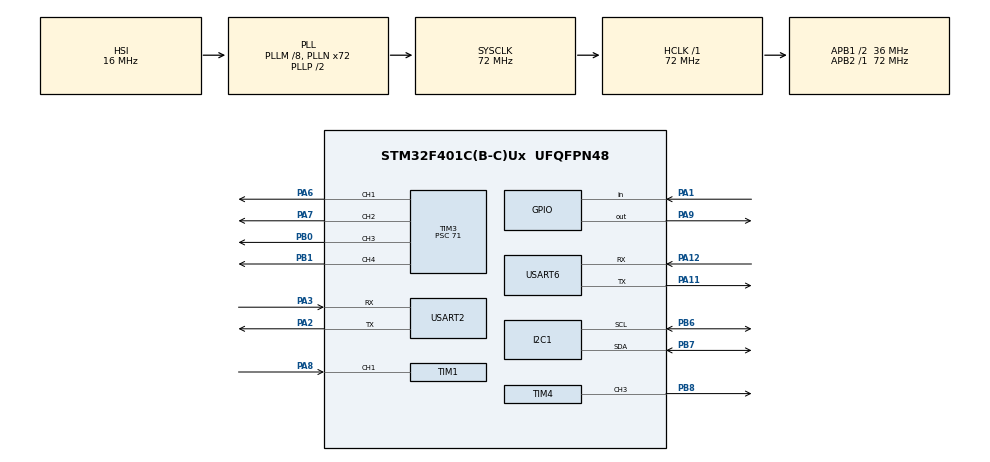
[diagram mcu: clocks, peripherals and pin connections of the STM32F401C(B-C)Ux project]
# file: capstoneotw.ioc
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I2C1.I2C_Mode=I2C_Fast
Mcu.Family=STM32F4
Mcu.Name=STM32F401C(B-C)Ux
Mcu.Package=UFQFPN48
NVIC.PriorityGroup=NVIC_PRIORITYGROUP_4
NVIC.RTC_Alarm_IRQn=true\:0\:0\:false\:false\:true\:true\:true\:true
NVIC.TIM1_CC_IRQn=true\:0\:0\:false\:false\:true\:true\:true\:true
PA1.Signal=GPIO_Input
PA11.Mode=Asynchronous
PA11.Signal=USART6_TX
PA12.Mode=Asynchronous
PA12.Signal=USART6_RX
PA13.Mode=Serial_Wire
PA13.Signal=SYS_JTMS-SWDIO
PA14.Mode=Serial_Wire
PA14.Signal=SYS_JTCK-SWCLK
PA2.Mode=Asynchronous
PA2.Signal=USART2_TX
PA3.Mode=Asynchronous
PA3.Signal=USART2_RX
PA6.Signal=S_TIM3_CH1
PA7.Signal=S_TIM3_CH2
PA8.Signal=S_TIM1_CH1
PA9.Signal=GPIO_Output
PB0.Signal=S_TIM3_CH3
PB1.Signal=S_TIM3_CH4
PB6.Mode=I2C
PB6.Signal=I2C1_SCL
PB7.Mode=I2C
PB7.Signal=I2C1_SDA
PB8.Signal=S_TIM4_CH3
PH0\ -\ OSC_IN.Mode=HSE-External-Oscillator
PH0\ -\ OSC_IN.Signal=RCC_OSC_IN
PH1\ -\ OSC_OUT.Mode=HSE-External-Oscillator
PH1\ -\ OSC_OUT.Signal=RCC_OSC_OUT
ProjectManager.HeapSize=0x200
ProjectManager.StackSize=0x400
ProjectManager.TargetToolchain=STM32CubeIDE
RCC.48MHZClocksFreq_Value=36000000
RCC.AHBFreq_Value=72000000
RCC.APB1CLKDivider=RCC_HCLK_DIV2
RCC.APB1Freq_Value=36000000
RCC.APB1TimFreq_Value=72000000
RCC.APB2Freq_Value=72000000
RCC.APB2TimFreq_Value=72000000
RCC.CortexFreq_Value=72000000
RCC.HCLKFreq_Value=72000000
RCC.HSE_VALUE=25000000
RCC.HSI_VALUE=16000000
RCC.LSE_VALUE=32768
RCC.PLLM=8
RCC.PLLN=72
RCC.SYSCLKFreq_VALUE=72000000
RCC.SYSCLKSource=RCC_SYSCLKSOURCE_PLLCLK
RCC.VCOOutputFreq_Value=144000000
RTC.Alarm=RTC_ALARM_A
RTC.Format=RTC_FORMAT_BIN
SH.S_TIM1_CH1.0=TIM1_CH1,Input_Capture1_from_TI1
SH.S_TIM3_CH1.0=TIM3_CH1,PWM Generation1 CH1
SH.S_TIM3_CH2.0=TIM3_CH2,PWM Generation2 CH2
SH.S_TIM3_CH3.0=TIM3_CH3,PWM Generation3 CH3
SH.S_TIM3_CH4.0=TIM3_CH4,PWM Generation4 CH4
SH.S_TIM4_CH3.0=TIM4_CH3,PWM Generation3 CH3
TIM1.Channel-Input_Capture1_from_TI1=TIM_CHANNEL_1
TIM1.ICPrescaler-Input_Capture1_from_TI1=TIM_ICPSC_DIV1
TIM1.Prescaler=71
TIM1.TIM_MasterOutputTrigger=TIM_TRGO_RESET
TIM2.Period=19999
TIM2.Prescaler=71
TIM3.Channel-PWM\ Generation1\ CH1=TIM_CHANNEL_1
TIM3.Channel-PWM\ Generation2\ CH2=TIM_CHANNEL_2
TIM3.Channel-PWM\ Generation3\ CH3=TIM_CHANNEL_3
TIM3.Channel-PWM\ Generation4\ CH4=TIM_CHANNEL_4
TIM3.Prescaler=71
TIM4.Channel-PWM\ Generation3\ CH3=TIM_CHANNEL_3
TIM4.Prescaler=71
USART2.VirtualMode=VM_ASYNC
USART6.VirtualMode=VM_ASYNC
VP_RTC_VS_RTC_Activate.Mode=RTC_Enabled
VP_RTC_VS_RTC_Alarm_A_Intern.Mode=Alarm A
VP_RTC_VS_RTC_Calendar.Mode=RTC_Calendar
VP_TIM1_VS_ClockSourceINT.Mode=Internal
VP_TIM2_VS_ClockSourceINT.Mode=Internal
board=custom

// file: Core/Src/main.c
/* USER CODE BEGIN Header */
/**
  ******************************************************************************
  * @file           : main.c
  * @brief          : FIXED 3-SERVO SPEED BUMP - ACCURATE SPEED DETECTION
  *                   Optimized for 3m track with better speed calculation
  ******************************************************************************
  */
/* USER CODE END Header */
#include "main.h"

/* USER CODE BEGIN Includes */
#include <string.h>
#include <stdio.h>
#include <stdlib.h>
#include <time.h>
#include <math.h>
#include "ESP8266_STM32.h"
#include "cJSON.h"
#include "ssd1306.h"
#include "fonts.h"
#include "q_table.h"
#include "state_classifier.h"
/* USER CODE END Includes */

/* USER CODE BEGIN PD */
// Pins
#define TRIG_PIN GPIO_PIN_9
#define TRIG_PORT GPIOA
#define ECHO_PIN GPIO_PIN_8
#define ECHO_PORT GPIOA
#define IR_SENSOR_PIN GPIO_PIN_1
#define IR_SENSOR_PORT GPIOA

// Timing - OPTIMIZED for better speed detection
#define SAMPLE_INTERVAL_MS 30        // Faster sampling (was 50ms)
#define SPEED_SAMPLES 10             // More samples for better average (was 3)
#define SPEED_CALCULATION_SAMPLES 3  // Use last 3 readings for speed calc

// Thresholds - ADJUSTED for realistic speeds
#define SPEED_THRESHOLD_LOW 3        // Lower threshold (was 5)
#define SPEED_THRESHOLD_HIGH 6      // Lower threshold (was 15)
#define MIN_SPEED_THRESHOLD 1.5f     // Lower minimum (was 1.0f)

// Servo Angles - REDUCED POWER CONSUMPTION
#define SERVO_DOWN_ANGLE 90
#define SERVO1_UP_ANGLE 80           // Right
#define SERVO2_UP_ANGLE 100			// Left

// Detection - OPTIMIZED for 3m track
#define VALID_DISTANCE_MIN 3         // Closer minimum (was 5)
#define VALID_DISTANCE_MAX 100       // Wider range (was 50)
#define IR_DEBOUNCE_MS 20           // Longer debounce (was 50)
#define BUMP_COOLDOWN_MS 1500        // Shorter cooldown (was 2000)
#define NO_VEHICLE_TIMEOUT_MS 2000   // Longer timeout (was 1000)

// Speed calculation constants for 3m track
#define MIN_DISTANCE_CHANGE 2        // Minimum 2cm change to calculate speed
#define MAX_REASONABLE_SPEED 10.0f   // Maximum 30 km/h for safety
#define SPEED_MEASUREMENT_DURATION 10 // Measure after 10 ms

// Vehicle sensing
#define MIN_MEASUREMENT_TIME_MS 36   // Minimum 36ms measurement time
#define MAX_MEASUREMENT_TIME_MS 135  // Maximum 3 seconds
#define SPEED_MEASUREMENT_DURATION MAX_MEASUREMENT_TIME_MS
/* USER CODE END PD */

I2C_HandleTypeDef hi2c1;

RTC_HandleTypeDef hrtc;

TIM_HandleTypeDef htim1;
TIM_HandleTypeDef htim2;
TIM_HandleTypeDef htim3;
TIM_HandleTypeDef htim4;

UART_HandleTypeDef huart2;
UART_HandleTypeDef huart6;

/* USER CODE BEGIN PV */
// Ultrasonic - IMPROVED STRUCTURE
volatile uint32_t IC_Val1 = 0;
volatile uint32_t IC_Val2 = 0;
volatile uint32_t Difference = 0;
volatile uint8_t Is_First_Captured = 0;
volatile uint8_t capture_done = 0;
volatile uint32_t distance_cm = 0;

typedef struct {
    uint32_t distance;
    uint32_t timestamp;
    uint8_t valid;
} DistanceReading;

DistanceReading distance_buffer[SPEED_SAMPLES];
uint8_t buffer_index = 0;
uint8_t buffer_filled = 0;

// Speed calculation variables
float current_speed_kmh = 0.0f;
float smoothed_speed_kmh = 0.0f;
float max_speed_detected = 0.0f;
uint32_t last_valid_detection = 0;
uint32_t valid_speed_readings = 0;
uint8_t speed_measurement_active = 0;  // Flag to track if we're measuring speed
uint32_t speed_measurement_start = 0;  // When measurement started
uint32_t last_ir_blocked_time = 0;

// Ultrasonic statistics
uint32_t ultrasonic_read_count = 0;
uint32_t ultrasonic_success_count = 0;

// IR Sensor
uint32_t ir_vehicle_count = 0;
uint32_t ir_last_detection_time = 0;
uint8_t ir_last_stable_state = 1;
uint8_t ir_current_state = 1;
uint8_t ir_sensor_changed = 0;

// Density
float current_density = 0.0f;
uint32_t density_window_start = 0;
uint32_t density_window_count = 0;

// Control
uint8_t bump_is_up = 0;
uint32_t last_bump_change = 0;
uint32_t last_oled_update = 0;
uint32_t last_mqtt_publish = 0;
uint32_t last_diagnostic = 0;
volatile uint8_t mqtt_publish_pending = 0;
uint32_t total_vehicles = 0;

// Bump
struct angles {
    uint8_t right_angle;
    uint8_t left_angle;
    uint8_t bump_status;
};

// Message buffers
char MSG[250] = {0};
char *json_str = NULL;
char ip_buf[16];
char mqtt_buffer[256] = {0};
// DIAGNOSTIC MODE
uint8_t diagnostic_mode = 0;
uint8_t diagnostic_mode_oled = 0;

// Previous distance for speed calculation
uint32_t prev_valid_distance = 0;
uint32_t prev_valid_time = 0;

// RL
uint8_t current_state = 0;
uint8_t action = 0;

//MQTT
uint32_t last_mqtt_broadcast = 0;
/* USER CODE END PV */

void SystemClock_Config(void);
static void MX_GPIO_Init(void);
static void MX_TIM1_Init(void);
static void MX_USART2_UART_Init(void);
static void MX_USART6_UART_Init(void);
static void MX_RTC_Init(void);
static void MX_TIM2_Init(void);
static void MX_I2C1_Init(void);
static void MX_TIM3_Init(void);
static void MX_TIM4_Init(void);
/* USER CODE BEGIN PFP */
void delay_us(uint16_t us);
uint8_t HCSR04_Read(void);
void add_distance_reading(uint32_t distance, uint32_t timestamp);
float calculate_speed_improved(uint32_t current_time);
void check_ir_sensor_state(void);
void update_density_calculation(uint32_t current_time);
void servo_set_angle(uint8_t servo_num, uint8_t angle);
void control_speed_bump(float speed_kmh, float density);
void update_oled_display(float speed, float density, uint8_t bump_status);
char *create_data_packet(float speed, float density, int bump, int count);
void print_diagnostics(void);
/* USER CODE END PFP */

/* USER CODE BEGIN 0 */

int _write(int file, char *ptr, int len) {
    HAL_UART_Transmit(&huart2, (uint8_t *)ptr, len, 100);
    return len;
}

void delay_us(uint16_t us)
{
    __HAL_TIM_SET_COUNTER(&htim1, 0);
    while (__HAL_TIM_GET_COUNTER(&htim1) < us);
}

struct angles Set_Servo_RL_Action(uint8_t action)
{
    struct angles A;
    if (action == 0) {
        A.right_angle = SERVO_DOWN_ANGLE;
        A.left_angle = SERVO_DOWN_ANGLE;
        A.bump_status = 0;
    } else {
        A.right_angle = SERVO1_UP_ANGLE;
        A.left_angle = SERVO2_UP_ANGLE;
        A.bump_status = 1;
    }
    return A;
}

uint8_t select_best_action(int8_t state)
{
    if (state < 0 || state >= NUM_STATES) {
        return 0;
    }
    return OPTIMAL_POLICY[state];
}

void add_distance_reading(uint32_t distance, uint32_t timestamp)
{
    distance_buffer[buffer_index].distance = distance;
    distance_buffer[buffer_index].timestamp = timestamp;
    distance_buffer[buffer_index].valid = 1;

    buffer_index++;
    if (buffer_index >= SPEED_SAMPLES) {
        buffer_index = 0;
        buffer_filled = 1;
    }
}

// IMPROVED SPEED CALCULATION - Better for 3m track
float calculate_speed_improved(uint32_t current_time)
{
    // Need at least 2 valid readings
    if (!buffer_filled && buffer_index < 2) {
        return 0.0f;
    }

    // Get the most recent valid readings
    int count = 0;
    int indices[SPEED_CALCULATION_SAMPLES];

    // Find last N valid readings
    for (int i = 0; i < SPEED_SAMPLES && count < SPEED_CALCULATION_SAMPLES; i++) {
        int idx = (buffer_index - 1 - i + SPEED_SAMPLES) % SPEED_SAMPLES;
        if (distance_buffer[idx].valid) {
            indices[count++] = idx;
        }
    }

    if (count < 2) {
        return 0.0f;
    }

    // Calculate speed using first and last reading
    int oldest_idx = indices[count - 1];
    int newest_idx = indices[0];

    int32_t distance_diff = (int32_t)distance_buffer[oldest_idx].distance -
                            (int32_t)distance_buffer[newest_idx].distance;

    float time_diff_s = (distance_buffer[newest_idx].timestamp -
                         distance_buffer[oldest_idx].timestamp) / 1000.0f;

    // Need minimum time difference
    if (time_diff_s < 0.05f) {  // At least 50ms
        return 0.0f;
    }

    // Need minimum distance change
    if (abs(distance_diff) < MIN_DISTANCE_CHANGE) {
        return 0.0f;
    }

    // Calculate speed in cm/s
    float speed_cms = distance_diff / time_diff_s;

    // Convert to km/h
    float speed_kmh = speed_cms * 0.036f;

    // Filter out negative speeds (moving away) and unreasonable speeds
    if (speed_kmh < 0 || speed_kmh > MAX_REASONABLE_SPEED) {
        return 0.0f;
    }

    // Only count approaching vehicles (positive speed)
    if (speed_kmh > MIN_SPEED_THRESHOLD) {
        valid_speed_readings++;
        last_valid_detection = current_time;

        // Track maximum speed
        if (speed_kmh > max_speed_detected) {
            max_speed_detected = speed_kmh;
        }

        if (diagnostic_mode) {
            sprintf(MSG, "[SPEED] Δd=%ld cm, Δt=%.2fs, v=%.1f km/h ✓\r\n",
                    distance_diff, time_diff_s, speed_kmh);
            HAL_UART_Transmit(&huart2, (uint8_t*)MSG, strlen(MSG), 100);
        }
    }

    return speed_kmh;
}

void HAL_TIM_IC_CaptureCallback(TIM_HandleTypeDef *htim)
{
    if (htim->Channel == HAL_TIM_ACTIVE_CHANNEL_1)
    {
        if (Is_First_Captured == 0)
        {
            IC_Val1 = HAL_TIM_ReadCapturedValue(htim, TIM_CHANNEL_1);
            Is_First_Captured = 1;
            __HAL_TIM_SET_CAPTUREPOLARITY(htim, TIM_CHANNEL_1, TIM_INPUTCHANNELPOLARITY_FALLING);
        }
        else
        {
            IC_Val2 = HAL_TIM_ReadCapturedValue(htim, TIM_CHANNEL_1);

            if (IC_Val2 >= IC_Val1)
                Difference = IC_Val2 - IC_Val1;
            else
                Difference = (0xFFFFFFFF - IC_Val1) + IC_Val2 + 1;

            distance_cm = Difference / 58;
            Is_First_Captured = 0;
            capture_done = 1;

            __HAL_TIM_SET_CAPTUREPOLARITY(htim, TIM_CHANNEL_1, TIM_INPUTCHANNELPOLARITY_RISING);
        }
    }
}

uint8_t HCSR04_Read(void)
{
    uint32_t timeout;

    ultrasonic_read_count++;
    capture_done = 0;
    Is_First_Captured = 0;
    distance_cm = 0;
    Difference = 0;

    __HAL_TIM_SET_COUNTER(&htim1, 0);
    __HAL_TIM_SET_CAPTUREPOLARITY(&htim1, TIM_CHANNEL_1, TIM_INPUTCHANNELPOLARITY_RISING);

    HAL_GPIO_WritePin(TRIG_PORT, TRIG_PIN, GPIO_PIN_RESET);
    delay_us(2);
    HAL_GPIO_WritePin(TRIG_PORT, TRIG_PIN, GPIO_PIN_SET);
    delay_us(10);
    HAL_GPIO_WritePin(TRIG_PORT, TRIG_PIN, GPIO_PIN_RESET);

    timeout = HAL_GetTick() + 60;
    while (!capture_done && HAL_GetTick() < timeout);

    if (!capture_done) {
        return 0;
    }

    if (distance_cm < VALID_DISTANCE_MIN || distance_cm > VALID_DISTANCE_MAX) {
        return 0;
    }

    ultrasonic_success_count++;
    return 1;
}

void check_ir_sensor_state(void)
{
    uint8_t new_state = HAL_GPIO_ReadPin(IR_SENSOR_PORT, IR_SENSOR_PIN);
    uint32_t current_time = HAL_GetTick();

    if (new_state != ir_current_state) {
        ir_current_state = new_state;
        ir_last_detection_time = current_time;
        ir_sensor_changed = 1;
    }

    if (ir_sensor_changed &&
        (current_time - ir_last_detection_time >= IR_DEBOUNCE_MS))
    {
        if (ir_current_state == 0 && ir_last_stable_state == 1)
        {
            ir_vehicle_count++;
            density_window_count++;
            total_vehicles++;

            speed_measurement_active = 1;
            speed_measurement_start = HAL_GetTick();
            last_ir_blocked_time = speed_measurement_start;

            sprintf(MSG, "[IR] ✓ VEHICLE #%lu detected!\r\n", total_vehicles);
            HAL_UART_Transmit(&huart2, (uint8_t*)MSG, strlen(MSG), 100);
        }

        ir_last_stable_state = ir_current_state;
        ir_sensor_changed = 0;
        speed_measurement_active = 0;
    }
}

void update_density_calculation(uint32_t current_time)
{
    if (current_time - density_window_start >= 1000)
    {
        current_density = (float)density_window_count;

        sprintf(MSG, "[DENSITY] %.0f vehicles/minute\r\n", current_density);
        HAL_UART_Transmit(&huart2, (uint8_t*)MSG, strlen(MSG), 100);

        density_window_start = current_time;
        density_window_count = 0;
    }
}

// Servo control with REDUCED ANGLES for lower power
// Servo control dengan TIM3 Channel 1, 2, 3
void servo_set_angle(uint8_t servo_num, uint8_t angle)
{
    if (angle > 180) angle = 180;
    uint32_t pulse = 500 + ((angle * 2000) / 180);

    switch(servo_num) {
        case 1:
            __HAL_TIM_SET_COMPARE(&htim3, TIM_CHANNEL_1, pulse);  // Servo 1 - TIM3 CH1 - PA6
            break;
        case 2:
            __HAL_TIM_SET_COMPARE(&htim3, TIM_CHANNEL_2, pulse);  // Servo 2 - TIM3 CH2 - PA7
            break;
        case 3:
            __HAL_TIM_SET_COMPARE(&htim3, TIM_CHANNEL_3, pulse);  // Servo 3 - TIM3 CH3 - PB0
            break;
        case 4:
            __HAL_TIM_SET_COMPARE(&htim3, TIM_CHANNEL_4, pulse);  // Servo 4 - TIM3 CH4 - PB1
            break;
    }
}

// MODIFIED: Control all 4 servos simultaneously
void control_speed_bump(float speed_kmh, float density)
{
    uint32_t current_time = HAL_GetTick();

    if (current_time - last_bump_change < BUMP_COOLDOWN_MS) return;

    // Default to DOWN if no vehicle detected
    if (current_time - last_valid_detection > NO_VEHICLE_TIMEOUT_MS * 2) // 4 seconds
    {
        if (bump_is_up) {
            // Lower all servos
            servo_set_angle(1, SERVO_DOWN_ANGLE);
            HAL_Delay(50);
            servo_set_angle(2, SERVO_DOWN_ANGLE);
            HAL_Delay(50);
            servo_set_angle(3, SERVO_DOWN_ANGLE);
            HAL_Delay(50);
            servo_set_angle(4, SERVO_DOWN_ANGLE);

            bump_is_up = 0;
            last_bump_change = current_time;

            sprintf(MSG, "[BUMP] ✓ AUTO-LOWERED (timeout)\r\n");
            HAL_UART_Transmit(&huart2, (uint8_t*)MSG, strlen(MSG), 100);
        }
        return;
    }

    // Decide using RL
    current_state = classify_state(density, speed_kmh);

    if (current_state >= 0 && current_state < NUM_STATES) {
        // Pilih action berdasarkan Q-table
        action = select_best_action(current_state);

        snprintf(MSG, sizeof(MSG), "Q-Table Decision: Action=%u\r\n", action);
        HAL_UART_Transmit(&huart2, (uint8_t*)MSG, strlen(MSG), 100);

        // Eksekusi action dengan animasi - 4 servos
        struct angles result = Set_Servo_RL_Action(action);

        servo_set_angle(1, result.left_angle);
        HAL_Delay(50);
        servo_set_angle(2, result.right_angle);
        HAL_Delay(50);
        servo_set_angle(3, result.left_angle);
        HAL_Delay(50);
        servo_set_angle(4, result.right_angle);  // NEW: 4th servo

        bump_is_up = result.bump_status;
        last_bump_change = current_time;

        snprintf(MSG, sizeof(MSG),
                 "[BUMP] ALL 4 SERVOS ACTION %u - Speed: %.1f km/h\r\n",
                 bump_is_up, speed_kmh);
        HAL_UART_Transmit(&huart2, (uint8_t*)MSG, strlen(MSG), 100);

    } else {
        if (speed_kmh < MIN_SPEED_THRESHOLD) return;

        if (speed_kmh > SPEED_THRESHOLD_HIGH && !bump_is_up)
        {
            // Raise all 4 servos with staggered timing
            servo_set_angle(1, SERVO2_UP_ANGLE);
            HAL_Delay(50);
            servo_set_angle(2, SERVO1_UP_ANGLE);
            HAL_Delay(50);
            servo_set_angle(3, SERVO2_UP_ANGLE);
            HAL_Delay(50);
            servo_set_angle(4, SERVO1_UP_ANGLE);  // NEW: 4th servo

            bump_is_up = 1;
            last_bump_change = current_time;

            sprintf(MSG, "[BUMP] ⚠️  ALL 4 SERVOS RAISED - Speed: %.1f km/h\r\n", speed_kmh);
            HAL_UART_Transmit(&huart2, (uint8_t*)MSG, strlen(MSG), 100);
        }
        else if (speed_kmh < SPEED_THRESHOLD_LOW && bump_is_up)
        {
            // Lower all 4 servos
            servo_set_angle(1, SERVO_DOWN_ANGLE);
            HAL_Delay(50);
            servo_set_angle(2, SERVO_DOWN_ANGLE);
            HAL_Delay(50);
            servo_set_angle(3, SERVO_DOWN_ANGLE);
            HAL_Delay(50);
            servo_set_angle(4, SERVO_DOWN_ANGLE);  // NEW: 4th servo

            bump_is_up = 0;
            last_bump_change = current_time;

            sprintf(MSG, "[BUMP] ✓ ALL 4 SERVOS LOWERED - Speed: %.1f km/h\r\n", speed_kmh);
            HAL_UART_Transmit(&huart2, (uint8_t*)MSG, strlen(MSG), 100);
        }
    }
}

void update_oled_display(float speed, float density, uint8_t bump_status)
{
    char line[32];

    SSD1306_Fill(SSD1306_COLOR_BLACK);

    SSD1306_GotoXY(0, 0);
    SSD1306_Puts("3-SERVO BUMP", &Font_7x10, SSD1306_COLOR_WHITE);

    SSD1306_GotoXY(0, 12);
    snprintf(line, sizeof(line), "Speed:%.1f km/h", speed);
    SSD1306_Puts(line, &Font_7x10, SSD1306_COLOR_WHITE);

    SSD1306_GotoXY(0, 24);
    snprintf(line, sizeof(line), "Max:%.1f km/h", max_speed_detected);
    SSD1306_Puts(line, &Font_7x10, SSD1306_COLOR_WHITE);

    SSD1306_GotoXY(0, 36);
    snprintf(line, sizeof(line), "IR:%lu Den:%.0f", ir_vehicle_count, density);
    SSD1306_Puts(line, &Font_7x10, SSD1306_COLOR_WHITE);

    SSD1306_GotoXY(0, 48);
    snprintf(line, sizeof(line), "Bump:%s D:%lucm",
             bump_status ? "UP" : "DN", distance_cm);
    SSD1306_Puts(line, &Font_7x10, SSD1306_COLOR_WHITE);

    SSD1306_UpdateScreen();
}

char *create_data_packet(float speed, float density, int bump, int count)
{
    char *string = NULL;
    cJSON *packet = cJSON_CreateObject();
    if (packet == NULL) return NULL;

    cJSON_AddNumberToObject(packet, "speed", speed);
    cJSON_AddNumberToObject(packet, "density", density);
    cJSON_AddNumberToObject(packet, "bump", bump);
    cJSON_AddNumberToObject(packet, "total_vehicles", count);

    string = cJSON_Print(packet);
    cJSON_Delete(packet);
    return string;
}

void print_diagnostics(void)
{
    uint32_t success_rate = (ultrasonic_read_count > 0) ?
        (ultrasonic_success_count * 100 / ultrasonic_read_count) : 0;

    sprintf(MSG, "\r\n╔═══ DIAGNOSTIC (4-SERVO) ═══╗\r\n");
    HAL_UART_Transmit(&huart2, (uint8_t*)MSG, strlen(MSG), 100);

    sprintf(MSG, "║ US Success: %lu%% | Reads: %lu/%lu\r\n",
            success_rate, ultrasonic_success_count, ultrasonic_read_count);
    HAL_UART_Transmit(&huart2, (uint8_t*)MSG, strlen(MSG), 100);

    sprintf(MSG, "║ Distance: %lu cm | Valid speeds: %lu\r\n",
            distance_cm, valid_speed_readings);
    HAL_UART_Transmit(&huart2, (uint8_t*)MSG, strlen(MSG), 100);

    sprintf(MSG, "║ Current: %.1f km/h | Max: %.1f km/h\r\n",
            smoothed_speed_kmh, max_speed_detected);
    HAL_UART_Transmit(&huart2, (uint8_t*)MSG, strlen(MSG), 100);

    sprintf(MSG, "║ IR: %s | Count: %lu\r\n",
            HAL_GPIO_ReadPin(IR_SENSOR_PORT, IR_SENSOR_PIN) ? "Clear" : "Blocked",
            ir_vehicle_count);
    HAL_UART_Transmit(&huart2, (uint8_t*)MSG, strlen(MSG), 100);

    sprintf(MSG, "║ 4 Servos: %s | Density: %.0f v/m\r\n",
            bump_is_up ? "UP" : "DOWN", current_density);
    HAL_UART_Transmit(&huart2, (uint8_t*)MSG, strlen(MSG), 100);

    sprintf(MSG, "╚═════════════════════════════╝\r\n\r\n");
    HAL_UART_Transmit(&huart2, (uint8_t*)MSG, strlen(MSG), 100);
}

/* USER CODE END 0 */

int main(void)
{

  /* MCU Configuration--------------------------------------------------------*/

  /* Reset of all peripherals, Initializes the Flash interface and the Systick. */
  HAL_Init();

  /* Configure the system clock */
  SystemClock_Config();

  /* Initialize all configured peripherals */
  MX_GPIO_Init();
  MX_TIM1_Init();
  MX_USART2_UART_Init();
  MX_USART6_UART_Init();
  MX_RTC_Init();
  MX_TIM2_Init();
  MX_I2C1_Init();
  MX_TIM3_Init();
  MX_TIM4_Init();
  /* USER CODE BEGIN 2 */
  /* USER CODE BEGIN 2 */
  // Initialize OLED
  SSD1306_Init();
  HAL_Delay(100);

  SSD1306_Fill(SSD1306_COLOR_BLACK);
  SSD1306_GotoXY(0, 10);
  SSD1306_Puts("SMARTONIC-FT", &Font_11x18, SSD1306_COLOR_WHITE);
  SSD1306_GotoXY(0, 35);
  SSD1306_Puts("C-03 Capstone", &Font_7x10, SSD1306_COLOR_WHITE);
  SSD1306_GotoXY(0, 50);
  SSD1306_Puts("DTETI FT UGM", &Font_7x10, SSD1306_COLOR_WHITE);
  SSD1306_UpdateScreen();
  HAL_Delay(2000);

  // Initialize servos dengan TIM3 - REDUCED power draw
  HAL_TIM_PWM_Start(&htim3, TIM_CHANNEL_1);  // Servo 1
  HAL_TIM_PWM_Start(&htim3, TIM_CHANNEL_2);  // Servo 2
  HAL_TIM_PWM_Start(&htim3, TIM_CHANNEL_3);  // Servo 3
  HAL_TIM_PWM_Start(&htim3, TIM_CHANNEL_4);  // Servo 4
  // Initialize satu per satu
  servo_set_angle(1, SERVO_DOWN_ANGLE);
    HAL_Delay(200);
    servo_set_angle(2, SERVO_DOWN_ANGLE);
    HAL_Delay(200);
    servo_set_angle(3, SERVO_DOWN_ANGLE);
    HAL_Delay(200);
    servo_set_angle(4, SERVO_DOWN_ANGLE);
    HAL_Delay(200);
    bump_is_up = 0;

  sprintf(MSG, "\r\n╔═══════════════════════════╗\r\n");
  HAL_UART_Transmit(&huart2, (uint8_t*)MSG, strlen(MSG), 100);
  sprintf(MSG, "║ 4-SERVO BUMP SYSTEM      ║\r\n");
  HAL_UART_Transmit(&huart2, (uint8_t*)MSG, strlen(MSG), 100);
  sprintf(MSG, "║ TIM3: CH1,CH2,CH3        ║\r\n");
  HAL_UART_Transmit(&huart2, (uint8_t*)MSG, strlen(MSG), 100);
  sprintf(MSG, "║ TIM4: CH3 (PB8)          ║\r\n");
  HAL_UART_Transmit(&huart2, (uint8_t*)MSG, strlen(MSG), 100);
  sprintf(MSG, "╚═══════════════════════════╝\r\n\r\n");
  HAL_UART_Transmit(&huart2, (uint8_t*)MSG, strlen(MSG), 100);

  // ESP Init
  if (ESP_Init() != ESP8266_OK){
      sprintf(MSG, "[ERROR] ESP8266 initialization failed\r\n");
      HAL_UART_Transmit(&huart2, (uint8_t*)MSG, strlen(MSG), 100);

      SSD1306_Fill(SSD1306_COLOR_BLACK);
      SSD1306_GotoXY(0, 20);
      SSD1306_Puts("ESP8266 ERROR!", &Font_11x18, SSD1306_COLOR_WHITE);
      SSD1306_UpdateScreen();
  }

  if (ESP_ConnectWiFi("Pixel_6094", "kurangpanjang", ip_buf, sizeof(ip_buf)) != ESP8266_OK){
      sprintf(MSG, "[ERROR] WiFi connection failed\r\n");
      HAL_UART_Transmit(&huart2, (uint8_t*)MSG, strlen(MSG), 100);

      SSD1306_Fill(SSD1306_COLOR_BLACK);
      SSD1306_GotoXY(0, 20);
      SSD1306_Puts("WiFi FAILED!", &Font_11x18, SSD1306_COLOR_WHITE);
      SSD1306_UpdateScreen();
      HAL_Delay(2000);

  } else {
      sprintf(MSG, "[OK] WiFi connected: %s\r\n", ip_buf);
      HAL_UART_Transmit(&huart2, (uint8_t*)MSG, strlen(MSG), 100);

      SSD1306_Fill(SSD1306_COLOR_BLACK);
      SSD1306_GotoXY(0, 15);
      SSD1306_Puts("WiFi Connected!", &Font_7x10, SSD1306_COLOR_WHITE);
      SSD1306_GotoXY(0, 30);
      SSD1306_Puts("IP:", &Font_7x10, SSD1306_COLOR_WHITE);
      SSD1306_GotoXY(0, 45);
      SSD1306_Puts(ip_buf, &Font_7x10, SSD1306_COLOR_WHITE);
      SSD1306_UpdateScreen();
      HAL_Delay(1500);
  }

  if (ESP_MQTT_Connect("10.62.137.210", 1883, "STM32SpeedBump", NULL, NULL, 60) != ESP8266_OK){
      sprintf(MSG, "[WARN] MQTT connection failed\r\n");
      HAL_UART_Transmit(&huart2, (uint8_t*)MSG, strlen(MSG), 100);

      SSD1306_Fill(SSD1306_COLOR_BLACK);
      SSD1306_GotoXY(0, 20);
      SSD1306_Puts("MQTT Failed", &Font_7x10, SSD1306_COLOR_WHITE);
      SSD1306_UpdateScreen();
      HAL_Delay(1000);

  } else {
      sprintf(MSG, "[OK] MQTT connected\r\n");
      HAL_UART_Transmit(&huart2, (uint8_t*)MSG, strlen(MSG), 100);

      SSD1306_Fill(SSD1306_COLOR_BLACK);
      SSD1306_GotoXY(0, 25);
      SSD1306_Puts("MQTT Connected!", &Font_11x18, SSD1306_COLOR_WHITE);
      SSD1306_UpdateScreen();
      HAL_Delay(1000);
  }

  // POWER WARNING
  sprintf(MSG, "⚠  POWER INFO:\r\n");
  HAL_UART_Transmit(&huart2, (uint8_t*)MSG, strlen(MSG), 100);
  sprintf(MSG, "   4 servos = ~800mA @ 5V (200mA each)\r\n");
  HAL_UART_Transmit(&huart2, (uint8_t*)MSG, strlen(MSG), 100);
  sprintf(MSG, "   USB 2.0 = 500mA limit\r\n");
  HAL_UART_Transmit(&huart2, (uint8_t*)MSG, strlen(MSG), 100);
  sprintf(MSG, "   USB 3.0 = 900mA limit\r\n");
  HAL_UART_Transmit(&huart2, (uint8_t*)MSG, strlen(MSG), 100);
  sprintf(MSG, "   RECOMMENDATION: Use external 5V power!\r\n\r\n");
  HAL_UART_Transmit(&huart2, (uint8_t*)MSG, strlen(MSG), 100);

  // Start timers
  HAL_TIM_Base_Start(&htim1);
  HAL_TIM_IC_Start_IT(&htim1, TIM_CHANNEL_1);

  // Initialize buffers
  for (uint8_t i = 0; i < SPEED_SAMPLES; i++) {
      distance_buffer[i].valid = 0;
  }

  // Initialize IR
  ir_last_stable_state = HAL_GPIO_ReadPin(IR_SENSOR_PORT, IR_SENSOR_PIN);
  ir_current_state = ir_last_stable_state;
  density_window_start = HAL_GetTick();

  sprintf(MSG, "[CONFIG] Servo angles reduced for lower power\r\n");
  HAL_UART_Transmit(&huart2, (uint8_t*)MSG, strlen(MSG), 100);
  sprintf(MSG, "[CONFIG] TIM3 Control: CH1, CH2, CH3\r\n");
  HAL_UART_Transmit(&huart2, (uint8_t*)MSG, strlen(MSG), 100);
  sprintf(MSG, "[CONFIG] Speed sampling: %dms interval\r\n", SAMPLE_INTERVAL_MS);
  HAL_UART_Transmit(&huart2, (uint8_t*)MSG, strlen(MSG), 100);
  sprintf(MSG, "[CONFIG] Buffer size: %d samples\r\n", SPEED_SAMPLES);
  HAL_UART_Transmit(&huart2, (uint8_t*)MSG, strlen(MSG), 100);
  sprintf(MSG, "[CONFIG] Speed thresholds: LOW=%d, HIGH=%d km/h\r\n\r\n",
          SPEED_THRESHOLD_LOW, SPEED_THRESHOLD_HIGH);
  HAL_UART_Transmit(&huart2, (uint8_t*)MSG, strlen(MSG), 100);

  sprintf(MSG, "[OK] System ready! Waiting for vehicles...\r\n\r\n");
  HAL_UART_Transmit(&huart2, (uint8_t*)MSG, strlen(MSG), 100);

  uint32_t last_measurement_time = 0;
  /* USER CODE END 2 */

  /* Infinite loop */
  while (1)
  {
	  uint32_t current_time = HAL_GetTick();

      // IR SENSOR CHECK runs regardless of US state
      check_ir_sensor_state();

      // FASTER SENSOR READING (every 30ms)
      if (current_time - last_measurement_time >= SAMPLE_INTERVAL_MS)
      {
    	  last_measurement_time = current_time;

    	  if (HCSR04_Read())
    	  {
    		  add_distance_reading(distance_cm, current_time);

    		  // Calculate speed with improved algorithm
    		  current_speed_kmh = calculate_speed_improved(current_time);

    		  // Apply smoothing only if we have a valid speed
    		  if (current_speed_kmh > MIN_SPEED_THRESHOLD) {
    			  if (smoothed_speed_kmh == 0.0f) {
    				  smoothed_speed_kmh = current_speed_kmh;
    			  } else {
    				  // Less aggressive smoothing for better responsiveness
    				  smoothed_speed_kmh = 0.6f * smoothed_speed_kmh + 0.4f * current_speed_kmh;
    			  }
    		  }
    	  }

    	  // DENSITY CALCULATION
    	  update_density_calculation(current_time);
    	  if (current_density == 0) current_density = 1;

    	  // CONTROL BUMP BASED ON SPEED AND DENSITY
    	  control_speed_bump(smoothed_speed_kmh, current_density);

    	  // Make data
    	  if (smoothed_speed_kmh > 0 && current_density > 0 && !mqtt_publish_pending) {
    		  json_str = create_data_packet(smoothed_speed_kmh, current_density, bump_is_up, total_vehicles);
    	  } else if (diagnostic_mode){
    		  sprintf(MSG, "[MQTT] Skipping JSON because speed and density is null\r\n");
    		  HAL_UART_Transmit(&huart2, (uint8_t*)MSG, strlen(MSG), 100);
    	  }

    	  if (json_str != NULL) {
    		  strncpy(mqtt_buffer, json_str, sizeof(mqtt_buffer) - 1);
    		  free(json_str);
    		  json_str = NULL;
//    		  mqtt_publish_pending = 1;
    		  if (diagnostic_mode){
    			  sprintf(MSG, "[MQTT] Created JSON and MQTT status is: %u\r\n", mqtt_publish_pending);
    			  HAL_UART_Transmit(&huart2, (uint8_t*)MSG, strlen(MSG), 100);
    		  }
    	  }

    	  // Check timeout
    	  if (current_time - last_valid_detection > NO_VEHICLE_TIMEOUT_MS)
    	  {
    		  smoothed_speed_kmh = 0.0f;
    		  current_speed_kmh = 0.0f;
    	  }
      }

      // OLED UPDATE (every 300ms for responsiveness)
      if (current_time - last_oled_update >= 300)
      {
    	  last_oled_update = current_time;
    	  if (diagnostic_mode_oled){
    		  update_oled_display(smoothed_speed_kmh, current_density, bump_is_up);
    	  } else {
    		  if (bump_is_up == 1) {
    			  SSD1306_Fill(SSD1306_COLOR_BLACK);
    	          SSD1306_GotoXY(0, 10);
    	          SSD1306_Puts("AWAS!", &Font_11x18, SSD1306_COLOR_WHITE);
    	          SSD1306_GotoXY(0, 35);
    	          SSD1306_Puts("SPEED BUMP!", &Font_7x10, SSD1306_COLOR_WHITE);
    		  } else {
    			  SSD1306_Fill(SSD1306_COLOR_BLACK);
    			  SSD1306_GotoXY(0, 15);
    			  SSD1306_Puts("PERHATIKAN", &Font_7x10, SSD1306_COLOR_WHITE);
    			  SSD1306_GotoXY(0, 30);
    			  SSD1306_Puts("KECEPATAN!", &Font_7x10, SSD1306_COLOR_WHITE);
    		  }
    		  char speed_line[20];
    		  snprintf(speed_line, sizeof(speed_line), "%.1f km/h", smoothed_speed_kmh);
    		  SSD1306_GotoXY(0, 50);
    		  SSD1306_Puts(speed_line, &Font_7x10, SSD1306_COLOR_WHITE);
    		  SSD1306_UpdateScreen();
    	  }
      }

      // SEND MQTT ONLY when no vehicle is nearby (non-critical time)
      if ((current_time - last_mqtt_broadcast > 9000)
      	  && (current_time - last_valid_detection > 1000)) {  // 1 second after last detection

    	  ESP_MQTT_Publish("smartonic", mqtt_buffer, 0);
//    	  mqtt_publish_pending = 0;
    	  last_mqtt_broadcast = current_time;

    	  if (diagnostic_mode){
    		  sprintf(MSG, "[MQTT] Published during idle time\r\n");
    		  HAL_UART_Transmit(&huart2, (uint8_t*)MSG, strlen(MSG), 100);
    	  }
      }
  }
}

void SystemClock_Config(void)
{
  RCC_OscInitTypeDef RCC_OscInitStruct = {0};
  RCC_ClkInitTypeDef RCC_ClkInitStruct = {0};

  /** Configure the main internal regulator output voltage
  */
  __HAL_RCC_PWR_CLK_ENABLE();
  __HAL_PWR_VOLTAGESCALING_CONFIG(PWR_REGULATOR_VOLTAGE_SCALE2);

  /** Initializes the RCC Oscillators according to the specified parameters
  * in the RCC_OscInitTypeDef structure.
  */
  RCC_OscInitStruct.OscillatorType = RCC_OSCILLATORTYPE_HSI|RCC_OSCILLATORTYPE_LSI;
  RCC_OscInitStruct.HSIState = RCC_HSI_ON;
  RCC_OscInitStruct.HSICalibrationValue = RCC_HSICALIBRATION_DEFAULT;
  RCC_OscInitStruct.LSIState = RCC_LSI_ON;
  RCC_OscInitStruct.PLL.PLLState = RCC_PLL_ON;
  RCC_OscInitStruct.PLL.PLLSource = RCC_PLLSOURCE_HSI;
  RCC_OscInitStruct.PLL.PLLM = 8;
  RCC_OscInitStruct.PLL.PLLN = 72;
  RCC_OscInitStruct.PLL.PLLP = RCC_PLLP_DIV2;
  RCC_OscInitStruct.PLL.PLLQ = 4;
  if (HAL_RCC_OscConfig(&RCC_OscInitStruct) != HAL_OK)
  {
    Error_Handler();
  }

  /** Initializes the CPU, AHB and APB buses clocks
  */
  RCC_ClkInitStruct.ClockType = RCC_CLOCKTYPE_HCLK|RCC_CLOCKTYPE_SYSCLK
                              |RCC_CLOCKTYPE_PCLK1|RCC_CLOCKTYPE_PCLK2;
  RCC_ClkInitStruct.SYSCLKSource = RCC_SYSCLKSOURCE_PLLCLK;
  RCC_ClkInitStruct.AHBCLKDivider = RCC_SYSCLK_DIV1;
  RCC_ClkInitStruct.APB1CLKDivider = RCC_HCLK_DIV2;
  RCC_ClkInitStruct.APB2CLKDivider = RCC_HCLK_DIV1;

  if (HAL_RCC_ClockConfig(&RCC_ClkInitStruct, FLASH_LATENCY_2) != HAL_OK)
  {
    Error_Handler();
  }
}

static void MX_I2C1_Init(void)
{

  hi2c1.Instance = I2C1;
  hi2c1.Init.ClockSpeed = 400000;
  hi2c1.Init.DutyCycle = I2C_DUTYCYCLE_2;
  hi2c1.Init.OwnAddress1 = 0;
  hi2c1.Init.AddressingMode = I2C_ADDRESSINGMODE_7BIT;
  hi2c1.Init.DualAddressMode = I2C_DUALADDRESS_DISABLE;
  hi2c1.Init.OwnAddress2 = 0;
  hi2c1.Init.GeneralCallMode = I2C_GENERALCALL_DISABLE;
  hi2c1.Init.NoStretchMode = I2C_NOSTRETCH_DISABLE;
  if (HAL_I2C_Init(&hi2c1) != HAL_OK)
  {
    Error_Handler();
  }

}

static void MX_RTC_Init(void)
{

  RTC_TimeTypeDef sTime = {0};
  RTC_DateTypeDef sDate = {0};
  RTC_AlarmTypeDef sAlarm = {0};

  /** Initialize RTC Only
  */
  hrtc.Instance = RTC;
  hrtc.Init.HourFormat = RTC_HOURFORMAT_24;
  hrtc.Init.AsynchPrediv = 127;
  hrtc.Init.SynchPrediv = 255;
  hrtc.Init.OutPut = RTC_OUTPUT_DISABLE;
  hrtc.Init.OutPutPolarity = RTC_OUTPUT_POLARITY_HIGH;
  hrtc.Init.OutPutType = RTC_OUTPUT_TYPE_OPENDRAIN;
  if (HAL_RTC_Init(&hrtc) != HAL_OK)
  {
    Error_Handler();
  }

  /** Initialize RTC and set the Time and Date
  */
  sTime.Hours = 0;
  sTime.Minutes = 0;
  sTime.Seconds = 0;
  sTime.DayLightSaving = RTC_DAYLIGHTSAVING_NONE;
  sTime.StoreOperation = RTC_STOREOPERATION_RESET;
  if (HAL_RTC_SetTime(&hrtc, &sTime, RTC_FORMAT_BIN) != HAL_OK)
  {
    Error_Handler();
  }
  sDate.WeekDay = RTC_WEEKDAY_MONDAY;
  sDate.Month = RTC_MONTH_JANUARY;
  sDate.Date = 1;
  sDate.Year = 0;

  if (HAL_RTC_SetDate(&hrtc, &sDate, RTC_FORMAT_BIN) != HAL_OK)
  {
    Error_Handler();
  }

  /** Enable the Alarm A
  */
  sAlarm.AlarmTime.Hours = 0;
  sAlarm.AlarmTime.Minutes = 0;
  sAlarm.AlarmTime.Seconds = 0;
  sAlarm.AlarmTime.SubSeconds = 0;
  sAlarm.AlarmTime.DayLightSaving = RTC_DAYLIGHTSAVING_NONE;
  sAlarm.AlarmTime.StoreOperation = RTC_STOREOPERATION_RESET;
  sAlarm.AlarmMask = RTC_ALARMMASK_NONE;
  sAlarm.AlarmSubSecondMask = RTC_ALARMSUBSECONDMASK_ALL;
  sAlarm.AlarmDateWeekDaySel = RTC_ALARMDATEWEEKDAYSEL_DATE;
  sAlarm.AlarmDateWeekDay = 1;
  sAlarm.Alarm = RTC_ALARM_A;
  if (HAL_RTC_SetAlarm_IT(&hrtc, &sAlarm, RTC_FORMAT_BIN) != HAL_OK)
  {
    Error_Handler();
  }

}

static void MX_TIM1_Init(void)
{

  TIM_ClockConfigTypeDef sClockSourceConfig = {0};
  TIM_MasterConfigTypeDef sMasterConfig = {0};
  TIM_IC_InitTypeDef sConfigIC = {0};

  htim1.Instance = TIM1;
  htim1.Init.Prescaler = 71;
  htim1.Init.CounterMode = TIM_COUNTERMODE_UP;
  htim1.Init.Period = 65535;
  htim1.Init.ClockDivision = TIM_CLOCKDIVISION_DIV1;
  htim1.Init.RepetitionCounter = 0;
  htim1.Init.AutoReloadPreload = TIM_AUTORELOAD_PRELOAD_DISABLE;
  if (HAL_TIM_Base_Init(&htim1) != HAL_OK)
  {
    Error_Handler();
  }
  sClockSourceConfig.ClockSource = TIM_CLOCKSOURCE_INTERNAL;
  if (HAL_TIM_ConfigClockSource(&htim1, &sClockSourceConfig) != HAL_OK)
  {
    Error_Handler();
  }
  if (HAL_TIM_IC_Init(&htim1) != HAL_OK)
  {
    Error_Handler();
  }
  sMasterConfig.MasterOutputTrigger = TIM_TRGO_RESET;
  sMasterConfig.MasterSlaveMode = TIM_MASTERSLAVEMODE_DISABLE;
  if (HAL_TIMEx_MasterConfigSynchronization(&htim1, &sMasterConfig) != HAL_OK)
  {
    Error_Handler();
  }
  sConfigIC.ICPolarity = TIM_INPUTCHANNELPOLARITY_RISING;
  sConfigIC.ICSelection = TIM_ICSELECTION_DIRECTTI;
  sConfigIC.ICPrescaler = TIM_ICPSC_DIV1;
  sConfigIC.ICFilter = 0;
  if (HAL_TIM_IC_ConfigChannel(&htim1, &sConfigIC, TIM_CHANNEL_1) != HAL_OK)
  {
    Error_Handler();
  }

}

static void MX_TIM2_Init(void)
{

  TIM_ClockConfigTypeDef sClockSourceConfig = {0};
  TIM_MasterConfigTypeDef sMasterConfig = {0};

  htim2.Instance = TIM2;
  htim2.Init.Prescaler = 71;
  htim2.Init.CounterMode = TIM_COUNTERMODE_UP;
  htim2.Init.Period = 19999;
  htim2.Init.ClockDivision = TIM_CLOCKDIVISION_DIV1;
  htim2.Init.AutoReloadPreload = TIM_AUTORELOAD_PRELOAD_DISABLE;
  if (HAL_TIM_Base_Init(&htim2) != HAL_OK)
  {
    Error_Handler();
  }
  sClockSourceConfig.ClockSource = TIM_CLOCKSOURCE_INTERNAL;
  if (HAL_TIM_ConfigClockSource(&htim2, &sClockSourceConfig) != HAL_OK)
  {
    Error_Handler();
  }
  sMasterConfig.MasterOutputTrigger = TIM_TRGO_RESET;
  sMasterConfig.MasterSlaveMode = TIM_MASTERSLAVEMODE_DISABLE;
  if (HAL_TIMEx_MasterConfigSynchronization(&htim2, &sMasterConfig) != HAL_OK)
  {
    Error_Handler();
  }

}

static void MX_TIM3_Init(void)
{

  TIM_MasterConfigTypeDef sMasterConfig = {0};
  TIM_OC_InitTypeDef sConfigOC = {0};

  htim3.Instance = TIM3;
  htim3.Init.Prescaler = 71;
  htim3.Init.CounterMode = TIM_COUNTERMODE_UP;
  htim3.Init.Period = 65535;
  htim3.Init.ClockDivision = TIM_CLOCKDIVISION_DIV1;
  htim3.Init.AutoReloadPreload = TIM_AUTORELOAD_PRELOAD_DISABLE;
  if (HAL_TIM_PWM_Init(&htim3) != HAL_OK)
  {
    Error_Handler();
  }
  sMasterConfig.MasterOutputTrigger = TIM_TRGO_RESET;
  sMasterConfig.MasterSlaveMode = TIM_MASTERSLAVEMODE_DISABLE;
  if (HAL_TIMEx_MasterConfigSynchronization(&htim3, &sMasterConfig) != HAL_OK)
  {
    Error_Handler();
  }
  sConfigOC.OCMode = TIM_OCMODE_PWM1;
  sConfigOC.Pulse = 0;
  sConfigOC.OCPolarity = TIM_OCPOLARITY_HIGH;
  sConfigOC.OCFastMode = TIM_OCFAST_DISABLE;
  if (HAL_TIM_PWM_ConfigChannel(&htim3, &sConfigOC, TIM_CHANNEL_1) != HAL_OK)
  {
    Error_Handler();
  }
  if (HAL_TIM_PWM_ConfigChannel(&htim3, &sConfigOC, TIM_CHANNEL_2) != HAL_OK)
  {
    Error_Handler();
  }
  if (HAL_TIM_PWM_ConfigChannel(&htim3, &sConfigOC, TIM_CHANNEL_3) != HAL_OK)
  {
    Error_Handler();
  }
  if (HAL_TIM_PWM_ConfigChannel(&htim3, &sConfigOC, TIM_CHANNEL_4) != HAL_OK)
  {
    Error_Handler();
  }
  HAL_TIM_MspPostInit(&htim3);

}

static void MX_TIM4_Init(void)
{

  TIM_MasterConfigTypeDef sMasterConfig = {0};
  TIM_OC_InitTypeDef sConfigOC = {0};

  htim4.Instance = TIM4;
  htim4.Init.Prescaler = 71;
  htim4.Init.CounterMode = TIM_COUNTERMODE_UP;
  htim4.Init.Period = 65535;
  htim4.Init.ClockDivision = TIM_CLOCKDIVISION_DIV1;
  htim4.Init.AutoReloadPreload = TIM_AUTORELOAD_PRELOAD_DISABLE;
  if (HAL_TIM_PWM_Init(&htim4) != HAL_OK)
  {
    Error_Handler();
  }
  sMasterConfig.MasterOutputTrigger = TIM_TRGO_RESET;
  sMasterConfig.MasterSlaveMode = TIM_MASTERSLAVEMODE_DISABLE;
  if (HAL_TIMEx_MasterConfigSynchronization(&htim4, &sMasterConfig) != HAL_OK)
  {
    Error_Handler();
  }
  sConfigOC.OCMode = TIM_OCMODE_PWM1;
  sConfigOC.Pulse = 0;
  sConfigOC.OCPolarity = TIM_OCPOLARITY_HIGH;
  sConfigOC.OCFastMode = TIM_OCFAST_DISABLE;
  if (HAL_TIM_PWM_ConfigChannel(&htim4, &sConfigOC, TIM_CHANNEL_3) != HAL_OK)
  {
    Error_Handler();
  }
  HAL_TIM_MspPostInit(&htim4);

}

static void MX_USART2_UART_Init(void)
{

  huart2.Instance = USART2;
  huart2.Init.BaudRate = 115200;
  huart2.Init.WordLength = UART_WORDLENGTH_8B;
  huart2.Init.StopBits = UART_STOPBITS_1;
  huart2.Init.Parity = UART_PARITY_NONE;
  huart2.Init.Mode = UART_MODE_TX_RX;
  huart2.Init.HwFlowCtl = UART_HWCONTROL_NONE;
  huart2.Init.OverSampling = UART_OVERSAMPLING_16;
  if (HAL_UART_Init(&huart2) != HAL_OK)
  {
    Error_Handler();
  }

}

static void MX_USART6_UART_Init(void)
{

  huart6.Instance = USART6;
  huart6.Init.BaudRate = 115200;
  huart6.Init.WordLength = UART_WORDLENGTH_8B;
  huart6.Init.StopBits = UART_STOPBITS_1;
  huart6.Init.Parity = UART_PARITY_NONE;
  huart6.Init.Mode = UART_MODE_TX_RX;
  huart6.Init.HwFlowCtl = UART_HWCONTROL_NONE;
  huart6.Init.OverSampling = UART_OVERSAMPLING_16;
  if (HAL_UART_Init(&huart6) != HAL_OK)
  {
    Error_Handler();
  }

}

static void MX_GPIO_Init(void)
{
  GPIO_InitTypeDef GPIO_InitStruct = {0};

  /* GPIO Ports Clock Enable */
  __HAL_RCC_GPIOH_CLK_ENABLE();
  __HAL_RCC_GPIOA_CLK_ENABLE();
  __HAL_RCC_GPIOB_CLK_ENABLE();

  /*Configure GPIO pin Output Level */
  HAL_GPIO_WritePin(GPIOA, GPIO_PIN_9, GPIO_PIN_RESET);

  /*Configure GPIO pin : PA1 */
  GPIO_InitStruct.Pin = GPIO_PIN_1;
  GPIO_InitStruct.Mode = GPIO_MODE_INPUT;
  GPIO_InitStruct.Pull = GPIO_NOPULL;
  HAL_GPIO_Init(GPIOA, &GPIO_InitStruct);

  /*Configure GPIO pin : PA9 */
  GPIO_InitStruct.Pin = GPIO_PIN_9;
  GPIO_InitStruct.Mode = GPIO_MODE_OUTPUT_PP;
  GPIO_InitStruct.Pull = GPIO_NOPULL;
  GPIO_InitStruct.Speed = GPIO_SPEED_FREQ_LOW;
  HAL_GPIO_Init(GPIOA, &GPIO_InitStruct);

}

void Error_Handler(void)
{
  __disable_irq();
  while (1)
  {
  }
}
